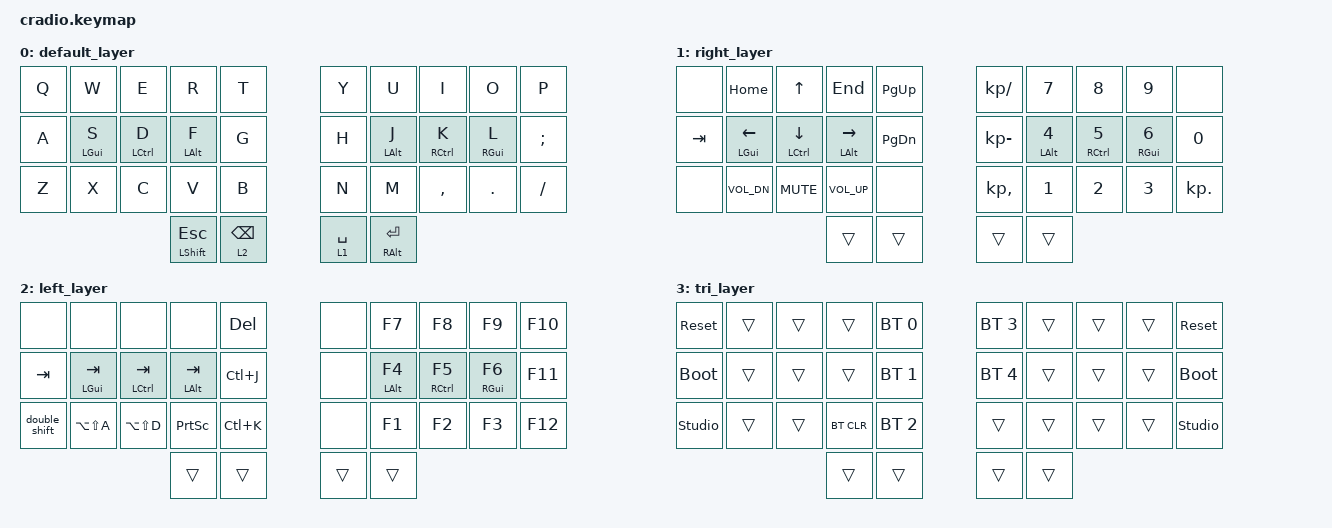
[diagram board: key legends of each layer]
// Copyright (c) 2022 The ZMK Contributors
// SPDX-License-Identifier: MIT

#include <behaviors.dtsi>
#include <dt-bindings/zmk/keys.h>
#include <dt-bindings/zmk/bt.h>

/* use helper macros to define left and right hand keys */
#include "zmk-helpers/key-labels/34.h"                                      // key-position labels
#define KEYS_L LT0 LT1 LT2 LT3 LT4 LM0 LM1 LM2 LM3 LM4 LB0 LB1 LB2 LB3 LB4  // left-hand keys
#define KEYS_R RT0 RT1 RT2 RT3 RT4 RM0 RM1 RM2 RM3 RM4 RB0 RB1 RB2 RB3 RB4  // right-hand keys
#define THUMBS LH1 LH0 RH0 RH1

/ {
    macros {
        double_shift: double_shift {
            compatible = "zmk,behavior-macro";
            #binding-cells = <0>;
            bindings = <&macro_tap &kp LSHFT &kp LSHFT>;
        };
    };

    behaviors {
        hl: hold_tap_left { // https://zmk.dev/docs/keymaps/behaviors/hold-tap
            compatible = "zmk,behavior-hold-tap";
            #binding-cells = <2>;
            flavor = "tap-preferred"; // hold-preferred, balanced, tap-preferred
            tapping-term-ms = <220>; // duration in ms after which a key press is considered hold
            quick-tap-ms = <150>; // enables double press+hold to hold the key (useful for backspace)
            require-prior-idle-ms = <100>; // disable hold tap when typing quickly 
            bindings = <&kp>, <&kp>;
            hold-trigger-key-positions = <KEYS_R THUMBS>;
            hold-trigger-on-release;             // delay positional check until key-release
        };
        hr: hold_tap_right { // https://zmk.dev/docs/keymaps/behaviors/hold-tap
            compatible = "zmk,behavior-hold-tap";
            #binding-cells = <2>;
            flavor = "tap-preferred"; // hold-preferred, balanced, tap-preferred
            tapping-term-ms = <220>; // duration in ms after which a key press is considered hold
            quick-tap-ms = <150>; // enables double press+hold to hold the key (useful for backspace)
            require-prior-idle-ms = <100>; // disable hold tap when typing quickly 
            bindings = <&kp>, <&kp>;
            hold-trigger-key-positions = <KEYS_L THUMBS>;
            hold-trigger-on-release;             // delay positional check until key-release
        };
        hlt: hold_tap_left_thumb { // https://zmk.dev/docs/keymaps/behaviors/hold-tap
            compatible = "zmk,behavior-hold-tap";
            #binding-cells = <2>;
            flavor = "hold-preferred"; // hold-preferred, balanced, tap-preferred
            tapping-term-ms = <140>; // duration in ms after which a key press is considered hold
            quick-tap-ms = <150>; // enables double press+hold to hold the key (useful for backspace)
            require-prior-idle-ms = <100>; // disable hold tap when typing quickly
            bindings = <&kp>, <&kp>;
            hold-trigger-key-positions = <KEYS_R THUMBS>;
            hold-trigger-on-release;             // delay positional check until key-release
        };
        hrt: hold_tap_right_thumb { // https://zmk.dev/docs/keymaps/behaviors/hold-tap
            compatible = "zmk,behavior-hold-tap";
            #binding-cells = <2>;
            flavor = "hold-preferred"; // hold-preferred, balanced, tap-preferred
            tapping-term-ms = <140>; // duration in ms after which a key press is considered hold
            quick-tap-ms = <150>; // enables double press+hold to hold the key (useful for backspace)
            require-prior-idle-ms = <100>; // disable hold tap when typing quickly
            bindings = <&kp>, <&kp>;
            hold-trigger-key-positions = <KEYS_L THUMBS>;
            hold-trigger-on-release;             // delay positional check until key-release
        };
        ltr: layer_tap { // custom layer tap with repeat
            compatible = "zmk,behavior-hold-tap";
            #binding-cells = <2>;
            flavor = "tap-preferred";
            tapping-term-ms = <220>;
            quick-tap-ms = <220>;
            require-prior-idle-ms = <100>;
            bindings = <&mo>, <&kp>;
        };
    };

    conditional_layers {
        compatible = "zmk,conditional-layers";
        tri_layer {
            if-layers = <1 2>;
            then-layer = <3>;
        };
    };

    keymap {
        compatible = "zmk,keymap";
        default_layer {
            bindings = <
        //╭──────────┬──────────┬──────────┬──────────┬──────────╮   ╭──────────┬──────────┬──────────┬──────────┬──────────╮
        //│  Q       │  C       │  O       │  P       │  W       │   │  J       │  M       │  D       │  !       │  Y       │
            &kp Q      &kp W      &kp E      &kp R      &kp T          &kp Y      &kp U      &kp I      &kp O      &kp P
        //├──────────┼──────────┼──────────┼──────────┼──────────┤   ├──────────┼──────────┼──────────┼──────────┼──────────┤
        //│  A       │  S       │  E       │  N       │  F       │   │  L       │  R       │  T       │  I       │  U       │
            &kp A    &hl LGUI S &hl LCTRL D &hl LALT F  &kp G          &kp H    &hr LALT J &hr RCTRL K &hr RGUI L  &kp SEMI
        //├──────────┼──────────┼──────────┼──────────┼──────────┤   ├──────────┼──────────┼──────────┼──────────┼──────────┤
        //│  Z       │  X       │ - ?      │  V       │  B       │   │ . :      │  H       │  G       │ , ;      │  K       │
            &kp Z      &kp X      &kp C      &kp V      &kp B          &kp N      &kp M      &kp COMMA  &kp DOT    &kp FSLH
        //╰──────────┴──────────┴──────────┼──────────┼──────────┤   ├──────────┼──────────┼──────────┴──────────┴──────────╯
                                         &hl LSHFT ESC &ltr 2 BSPC   &ltr 1 SPACE &hr RALT ENTER
        //                                 ╰──────────┴──────────╯   ╰──────────┴──────────╯
            >;
        };

        right_layer {
            bindings = <
        //╭──────────┬──────────┬──────────┬──────────┬──────────╮              ╭──────────┬──────────┬──────────┬──────────┬──────────╮
        //│          │  HOME    │  UP      │  END     │  PG UP   │              │ FSLH     │  7       │  8       │  9       │          │
            &none      &kp HOME   &kp UP     &kp END    &kp PG_UP               &kp KP_SLASH &kp N7     &kp N8     &kp N9     &none
        //├──────────┼──────────┼──────────┼──────────┼──────────┤              ├──────────┼──────────┼──────────┼──────────┼──────────┤
        //│  TAB     │  LEFT    │  DOWN    │  RIGHT   │  PG DN   │              │ -        │  4       │  5       │  6       │  0       │
         &kp TAB &hl LGUI LEFT &hl LCTRL DOWN &hl LALT RIGHT &kp PG_DN       &kp KP_MINUS &hr LALT N4 &hr RCTRL N5 &hr RGUI N6 &kp N0
        //├──────────┼──────────┼──────────┼──────────┼──────────┤              ├──────────┼──────────┼──────────┼──────────┼──────────┤
        //│          │  VOL-    │  MUTE    │  VOL+    │          │              │ ,        │  1       │  2       │  3       │ .        │
            &none   &kp C_VOL_DN &kp C_MUTE &kp C_VOL_UP &none                  &kp KP_COMMA &kp N1     &kp N2     &kp N3     &kp KP_DOT
        //╰──────────┴──────────┴──────────┼──────────┼──────────┤              ├──────────┼──────────┼──────────┴──────────┴──────────╯
                                             &trans     &trans                    &trans     &trans
        //                                 ╰──────────┴──────────╯              ╰──────────┴──────────╯
            >;
        };

        left_layer {
            bindings = <
        //╭──────────┬──────────┬──────────┬──────────┬──────────╮          ╭──────────┬──────────┬──────────┬──────────┬──────────╮
        //│          │          │          │          │ DEL      │          │          │  F7      │  F8      │  F9      │  F10     │
            &none      &none      &none      &none      &kp DEL               &none      &kp F7     &kp F8     &kp F9     &kp F10
        //├──────────┼──────────┼──────────┼──────────┼──────────┤          ├──────────┼──────────┼──────────┼──────────┼──────────┤
        //│  TAB     │  TAB     │  TAB     │  TAB     │ CTRL+R   │          │          │  F4      │  F5      │  F6      │  F11     │
           &kp TAB &hl LGUI TAB &hl LCTRL TAB &hl LALT TAB &kp LC(J)          &none  &hr LALT F4 &hr RCTRL F5 &hr RGUI F6 &kp F11
        //├──────────┼──────────┼──────────┼──────────┼──────────┤          ├──────────┼──────────┼──────────┼──────────┼──────────┤
        //│ SFT SFT  │ALT+SFT+A │ALT+SFT+E │ PSCRN    │ CTRL+T   │          │          │  F1      │  F2      │  F3      │  F12     │
     &double_shift &kp LA(LS(A)) &kp LA(LS(D)) &kp PSCRN &kp LC(K)            &none      &kp F1     &kp F2     &kp F3     &kp F12
        //╰──────────┴──────────┴──────────┼──────────┼──────────┤          ├──────────┼──────────┼──────────┴──────────┴──────────╯
                                             &trans     &trans                &trans     &trans
        //                                 ╰──────────┴──────────╯          ╰──────────┴──────────╯
            >;
        };

        tri_layer {
            bindings = <
        //╭──────────┬──────────┬──────────┬──────────┬──────────╮   ╭──────────┬──────────┬──────────┬──────────┬──────────╮
        //│ RESET    │          │          │          │PROFILE 0 │   │PROFILE 3 │          │          │          │  RESET   │
           &sys_reset  &trans     &trans     &trans    &bt BT_SEL 0 &bt BT_SEL 3  &trans     &trans     &trans    &sys_reset
        //├──────────┼──────────┼──────────┼──────────┼──────────┤   ├──────────┼──────────┼──────────┼──────────┼──────────┤
        //│BOOTLOADER│          │          │          │PROFILE 1 │   │PROFILE 4 │          │          │          │BOOTLOADER│
          &bootloader  &trans     &trans     &trans    &bt BT_SEL 1 &bt BT_SEL 4  &trans     &trans     &trans    &bootloader
        //├──────────┼──────────┼──────────┼──────────┼──────────┤   ├──────────┼──────────┼──────────┼──────────┼──────────┤
        //│          │          │          │ CLEAR BT │PROFILE 2 │   │          │          │          │          │          │
         &studio_unlock &trans    &trans    &bt BT_CLR &bt BT_SEL 2    &trans     &trans     &trans     &trans   &studio_unlock
        //╰──────────┴──────────┴──────────┼──────────┼──────────┤   ├──────────┼──────────┼──────────┴──────────┴──────────╯
                                             &trans     &trans         &trans     &trans
        //                                 ╰──────────┴──────────╯   ╰──────────┴──────────╯
            >;
        };
    };
};
